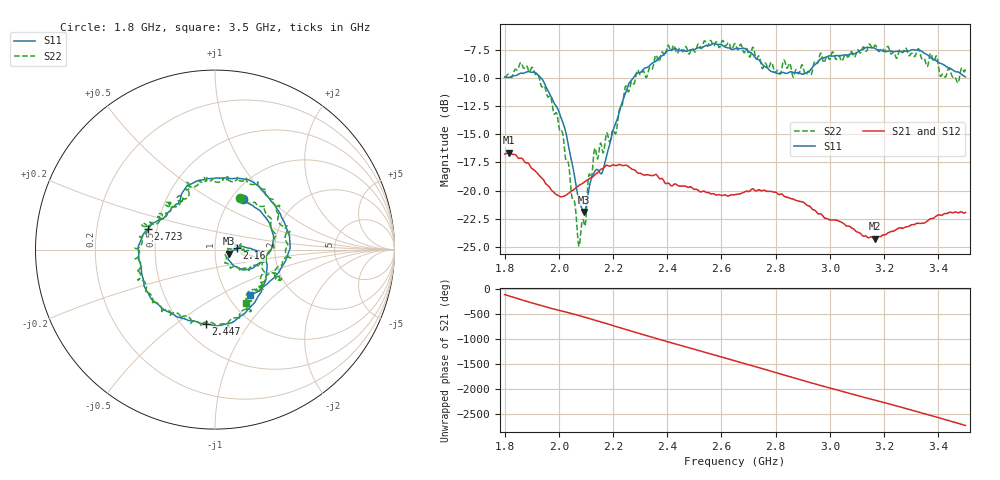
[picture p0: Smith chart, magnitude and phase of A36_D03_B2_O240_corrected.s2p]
! Created with skrf 1.9.0 (http://scikit-rf.org).
# Hz S RI R 50.0
!freq ReS11 ImS11 ReS21 ImS21 ReS12 ImS12 ReS22 ImS22
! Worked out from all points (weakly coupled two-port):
!   1601 points, 1.8 GHz to 3.5 GHz, reference 50 ohm
!   highest |S21| = -16.64 dB at 1.817 GHz (marker M1); lowest = -24.2 dB at 3.165 GHz (marker M2)
!   lowest |S11| = -21.9 dB at 2.093 GHz (marker M3), VSWR 1.18, Z = 58.3 - j2.75 ohm
!   |S11| at or under -10 dB: 1.934 GHz to 2.275 GHz (341.1 MHz wide, 16.2 % of centre)
!   |S22| runs from -24.9 to -6.7 dB; largest |S21 - S12| = 0.0025
!   S11 on the Smith chart (normalised r, x): 1.8 GHz: 1.13, +0.70; 2.16 GHz: 1.27, +0.02; 2.447 GHz: 0.65, -0.65; 2.723 GHz: 0.45, +0.12; 3.5 GHz: 1.26, -0.71
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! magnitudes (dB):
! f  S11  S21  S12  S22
! 1.8 GHz  -9.9  -16.8  -16.8  -9.9
! 1.817 GHz  -10.0  -16.6  -16.7  -9.7
! 1.903 GHz  -9.5  -18.1  -18.1  -9.1
! 1.968 GHz  -11.5  -19.8  -19.8  -11.6
! 2.015 GHz  -14.0  -20.5  -20.5  -15.0
! 2.072 GHz  -20.6  -19.6  -19.6  -24.7
! 2.084 GHz  -21.5  -19.4  -19.4  -23.1
! 2.093 GHz  -21.9  -19.3  -19.3  -22.9
! 2.13 GHz  -18.4  -18.6  -18.6  -16.5
! 2.16 GHz  -18.4  -18.1  -18.0  -16.4
! 2.209 GHz  -14.1  -17.8  -17.7  -15.0
! 2.259 GHz  -10.5  -17.9  -17.9  -11.2
! 2.367 GHz  -8.3  -18.8  -18.8  -8.5
! 2.447 GHz  -7.6  -19.6  -19.6  -7.3
! 2.65 GHz  -7.4  -20.4  -20.3  -7.0
! 2.723 GHz  -8.2  -20.0  -19.9  -7.9
! 2.808 GHz  -9.6  -20.3  -20.2  -9.3
! 2.934 GHz  -9.1  -21.6  -21.6  -9.6
! 3.165 GHz  -7.4  -24.2  -24.2  -7.1
! 3.217 GHz  -7.6  -23.7  -23.7  -7.3
! 3.469 GHz  -9.5  -21.9  -21.9  -10.4
! 3.5 GHz  -9.9  -21.9  -21.9  -9.2
